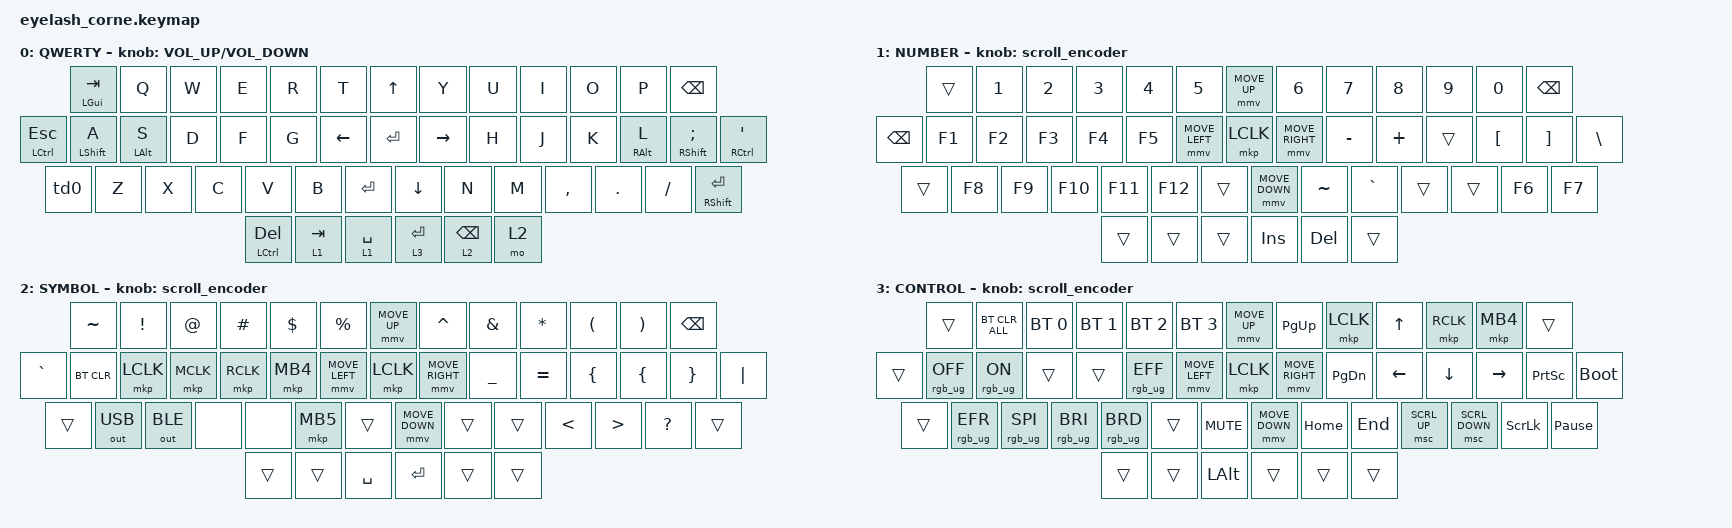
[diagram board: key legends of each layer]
#include <behaviors.dtsi>
#include <dt-bindings/zmk/bt.h>
#include <dt-bindings/zmk/keys.h>
#include <dt-bindings/zmk/mouse.h>
#include <dt-bindings/zmk/outputs.h>
#include <dt-bindings/zmk/rgb.h>

#include <input/processors.dtsi>

/*

   &mmv_input_listener {
       input-processors = <&zip_xy_scaler 2 1>;
   };

   &msc_input_listener {
       input-processors = <&zip_xy_scaler 2 1>;
   };

 */

#define ZMK_MOUSE_DEFAULT_MOVE_VAL 1200  // 600
#define ZMK_MOUSE_DEFAULT_SCRL_VAL 20    // 10

&mt {
    flavor = "tap-preferred";
};

/ {
    behaviors {
        td0: td0 {
            compatible = "zmk,behavior-tap-dance";
            display-name = "Shift/Caps Lock Tap Dance";
            #binding-cells = <0>;
            bindings = <&kp LEFT_SHIFT>, <&kp CAPS>;
        };
    };

    rgb_encoder: rgb_encoder {
        compatible = "zmk,behavior-sensor-rotate";
        #sensor-binding-cells = <0>;
        bindings = <&rgb_ug RGB_BRI>, <&rgb_ug RGB_BRD>;
    };

    scroll_encoder: scroll_encoder {
        compatible = "zmk,behavior-sensor-rotate";
        #sensor-binding-cells = <0>;
        bindings = <&msc SCRL_DOWN>, <&msc SCRL_UP>;
        tap-ms = <30>;
    };
   
    keymap {
        compatible = "zmk,keymap";

        default_layer {
            display-name = "QWERTY";
            bindings = <
&mt LGUI TAB    &kp Q  &kp W      &kp E     &kp R  &kp T                              &kp UP                   &kp Y        &kp U  &kp I      &kp O    &kp P     &kp BSPC
&mt LCTRL ESC       &mt LSHIFT A  &mt LALT S      &kp D     &kp F  &kp G                    &kp LEFT  &kp ENTER  &kp RIGHT  &kp H        &kp J   &kp K      &mt RALT L    &mt RSHIFT SEMI  &mt RCTRL SQT
&td0  &kp Z  &kp X      &kp C     &kp V  &kp B       &kp ENTER              &kp DOWN                      &kp N       &kp M  &kp COMMA  &kp DOT  &kp FSLH  &mt RSHIFT ENTER
                             &mt LCTRL DEL  &lt 1 TAB  &lt 1 SPACE                                              &lt 3 ENTER  &lt 2 BSPC  &mo 2
            >;
            sensor-bindings = <&inc_dec_kp C_VOLUME_UP C_VOLUME_DOWN>;
        };

        lower_layer {
            display-name = "NUMBER";
            bindings = <
&trans  &kp N1           &kp N2          &kp N3        &kp N4        &kp N5                         &mmv MOVE_UP                        &kp N6           &kp N7           &kp N8           &kp N9           &kp N0           &kp BSPC
&kp BSPC    &kp F1    &kp F2      &kp F3       &kp F4     &kp F5                         &mmv MOVE_LEFT  &mkp LCLK       &mmv MOVE_RIGHT  &kp MINUS        &kp PLUS       &trans         &kp LBKT         &kp RBKT       &kp BSLH     
&trans        &kp F8       &kp F9      &kp F10   &kp F11    &kp F12      &trans               &mmv MOVE_DOWN                                &kp TILDE          &kp GRAVE       &trans     &trans           &kp F6         &kp F7    
                                         &trans        &trans      &trans                                                                          &kp INS          &kp DEL          &trans
            >;
            sensor-bindings = <&scroll_encoder>;
        };

        raise_layer {
            display-name = "SYMBOL";
            bindings = <
&kp TILDE  &kp EXCL      &kp AT        &kp HASH   &kp DLLR   &kp PRCNT                           &mmv MOVE_UP                     &kp CARET  &kp AMPS   &kp ASTRK  &kp LPAR  &kp RPAR  &kp BSPC
&kp GRAVE  &bt BT_CLR    &mkp LCLK     &mkp MCLK  &mkp RCLK  &mkp MB4            &mmv MOVE_LEFT  &mkp LCLK       &mmv MOVE_RIGHT  &kp UNDER  &kp EQUAL  &kp LBRC   &kp LBRC    &kp RBRC  &kp PIPE 
&trans  &out OUT_USB  &out OUT_BLE  &none      &none      &mkp MB5  &trans                    &mmv MOVE_DOWN                   &trans  &trans   &kp LT   &kp GT  &kp QMARK   &trans  
                                    &trans     &trans     &kp SPACE                                                            &kp RET    &trans     &trans
            >;
            sensor-bindings = <&scroll_encoder>;
        };

        layer_3 {
            display-name = "CONTROL";
            bindings = <
&trans   &bt BT_CLR_ALL   &bt BT_SEL 0    &bt BT_SEL 1  &bt BT_SEL 2  &bt BT_SEL 3                         &mmv MOVE_UP                     &kp PG_UP      &mkp LCLK   &kp UP    &mkp RCLK  &mkp MB4          &trans
&trans  &rgb_ug RGB_OFF  &rgb_ug RGB_ON  &trans        &trans        &rgb_ug RGB_EFF               &mmv MOVE_LEFT  &mkp LCLK       &mmv MOVE_RIGHT  &kp PG_DN  &kp LEFT     &kp DOWN  &kp RIGHT  &kp PRINTSCREEN  &bootloader
&trans  &rgb_ug RGB_EFR  &rgb_ug RGB_SPI  &rgb_ug RGB_BRI  &rgb_ug RGB_BRD  &trans  &kp C_MUTE                    &mmv MOVE_DOWN                   &kp HOME      &kp END     &msc SCRL_UP  &msc SCRL_DOWN  &kp SCROLLLOCK   &kp PAUSE_BREAK
                                &trans      &trans      &kp LALT                                                                  &trans       &trans     &trans
            >;
            sensor-bindings = <&scroll_encoder>;
        };
    };
};
